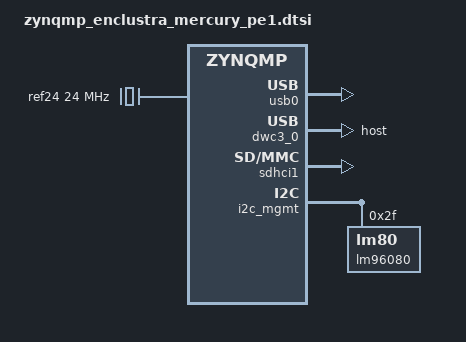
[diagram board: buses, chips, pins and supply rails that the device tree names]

&usb0 {
	status = "okay";
};

&usb1 {
	status = "disabled";
};

&dwc3_0 {
	status = "okay";
	dr_mode = "host";
	snps,usb3_lpm_capable;
	maximum-speed = "high-speed";
};

&dwc3_1 {
	status = "disabled";
	dr_mode = "host";
	snps,usb3_lpm_capable;
	maximum-speed = "high-speed";
};

/* SD1 with level shifter */
&sdhci1 {
	status = "okay";
	no-1-8-v;	/* for 1.0 silicon */
	wp-inverted;
	xlnx,mio_bank = <1>;
};

&amba {
	ref24: ref24M {
		compatible = "fixed-clock";
		#clock-cells = <0>;
		clock-frequency = <24000000>;
	};
};

&i2c_mgmt {	
	lm96080@2f {
		status = "okay";
		compatible = "lm80";
		reg = <0x2f >;
	};
};
